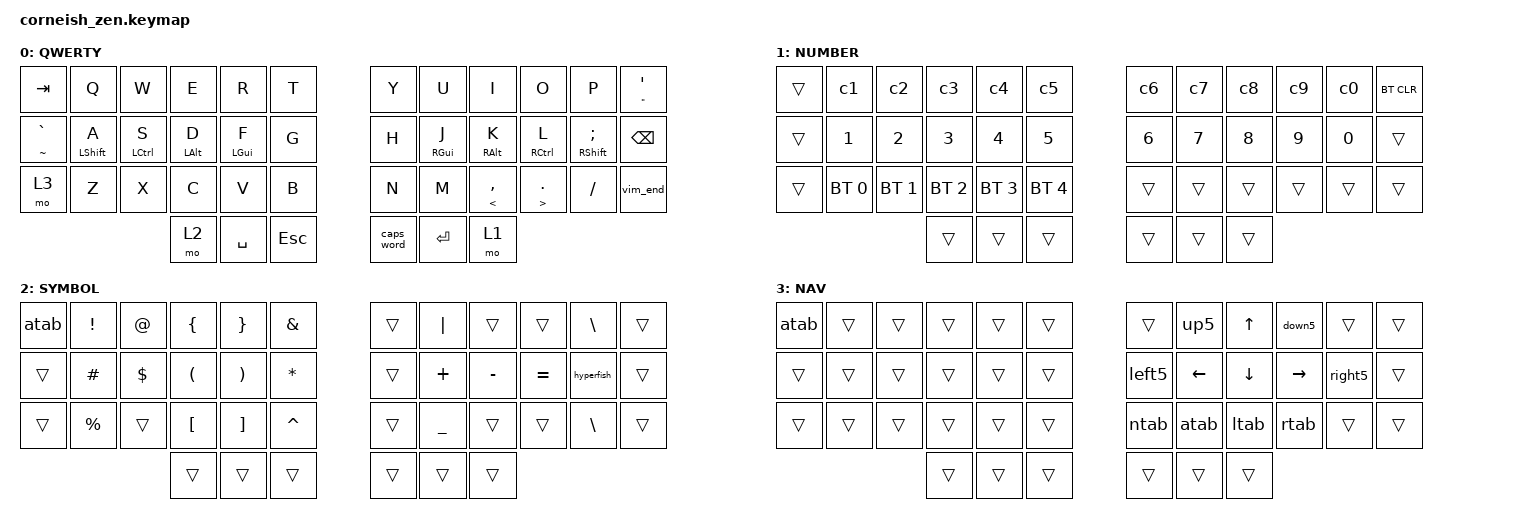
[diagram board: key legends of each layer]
#include <behaviors.dtsi>
#include <dt-bindings/zmk/keys.h>
#include <dt-bindings/zmk/bt.h>

/ {
  chosen {
    zmk,matrix_transform = &default_transform;
    //zmk,matrix_transform = &five_column_transform;
  };
};

&mt {
	tapping-term-ms = <180>;
};

/ {
	macros {
        	vim_end: vim_end {
            		label = "vim_end";
            		compatible = "zmk,behavior-macro";
            		#binding-cells = <0>;
            		bindings
                		= <&macro_tap &kp ESC &kp DLLR &kp I &kp RIGHT>
                		;
        	};
        	hyperfish: hyperfish {
            		label = "hyperfish";
            		compatible = "zmk,behavior-macro";
            		#binding-cells = <0>;
            		bindings
                		= <&macro_tap &kp COLON &kp COLON &kp LT &kp LPAR>
                		;
        	};
        	left5: left5 {
            		label = "left5";
            		compatible = "zmk,behavior-macro";
            		#binding-cells = <0>;
            		bindings
                		= <&macro_tap &kp LEFT &kp LEFT &kp LEFT &kp LEFT &kp LEFT>
                		;
        	};
        	right5: right5 {
            		label = "right5";
            		compatible = "zmk,behavior-macro";
            		#binding-cells = <0>;
            		bindings
                		= <&macro_tap &kp RIGHT &kp RIGHT &kp RIGHT &kp RIGHT &kp RIGHT>
                		;
        	};
        	up5: up5 {
            		label = "up5";
            		compatible = "zmk,behavior-macro";
            		#binding-cells = <0>;
            		bindings
                		= <&macro_tap &kp UP &kp UP &kp UP &kp UP &kp UP>
                		;
        	};
        	down5: down5 {
            		label = "down5";
            		compatible = "zmk,behavior-macro";
            		#binding-cells = <0>;
            		bindings
                		= <&macro_tap &kp DOWN &kp DOWN &kp DOWN &kp DOWN &kp DOWN>
                		;
        	};
        	atab: atab {
            		label = "alt_tab";
            		compatible = "zmk,behavior-macro";
            		#binding-cells = <0>;
            		bindings
                		= <&macro_press &kp LGUI>
                		, <&macro_tap &kp TAB>
                		, <&macro_release &kp LGUI>
                		;
        	};
        	ntab: ntab {
            		label = "new_tab";
            		compatible = "zmk,behavior-macro";
            		#binding-cells = <0>;
            		bindings
                		= <&macro_press &kp LGUI>
                		, <&macro_tap &kp T>
                		, <&macro_release &kp LGUI>
                		;
        	};
        	ltab: ltab {
            		label = "left_tab";
            		compatible = "zmk,behavior-macro";
            		#binding-cells = <0>;
            		bindings
                		= <&macro_press &kp LCTRL &kp LSHFT>
                		, <&macro_tap &kp TAB>
                		, <&macro_release &kp LCTRL &kp LSHFT>
                		;
        	};
        	rtab: rtab {
            		label = "right_tab";
            		compatible = "zmk,behavior-macro";
            		#binding-cells = <0>;
            		bindings
                		= <&macro_press &kp LCTRL>
                		, <&macro_tap &kp TAB>
                		, <&macro_release &kp LCTRL>
                		;
        	};
        	c1: c1 {
            		label = "c1";
            		compatible = "zmk,behavior-macro";
            		#binding-cells = <0>;
            		bindings
                		= <&macro_press &kp LGUI>
                		, <&macro_tap &kp N1>
                		, <&macro_release &kp LGUI>
                		;
        	};
        	c2: c2 {
            		label = "c2";
            		compatible = "zmk,behavior-macro";
            		#binding-cells = <0>;
            		bindings
                		= <&macro_press &kp LGUI>
                		, <&macro_tap &kp N2>
                		, <&macro_release &kp LGUI>
                		;
        	};
        	c3: c3 {
            		label = "c3";
            		compatible = "zmk,behavior-macro";
            		#binding-cells = <0>;
            		bindings
                		= <&macro_press &kp LGUI>
                		, <&macro_tap &kp N3>
                		, <&macro_release &kp LGUI>
                		;
        	};
        	c4: c4 {
            		label = "c4";
            		compatible = "zmk,behavior-macro";
            		#binding-cells = <0>;
            		bindings
                		= <&macro_press &kp LGUI>
                		, <&macro_tap &kp N4>
                		, <&macro_release &kp LGUI>
                		;
        	};
        	c5: c5 {
            		label = "c5";
            		compatible = "zmk,behavior-macro";
            		#binding-cells = <0>;
            		bindings
                		= <&macro_press &kp LGUI>
                		, <&macro_tap &kp N5>
                		, <&macro_release &kp LGUI>
                		;
        	};
        	c6: c6 {
            		label = "c6";
            		compatible = "zmk,behavior-macro";
            		#binding-cells = <0>;
            		bindings
                		= <&macro_press &kp LGUI>
                		, <&macro_tap &kp N6>
                		, <&macro_release &kp LGUI>
                		;
        	};
        	c7: c7 {
            		label = "c7";
            		compatible = "zmk,behavior-macro";
            		#binding-cells = <0>;
            		bindings
                		= <&macro_press &kp LGUI>
                		, <&macro_tap &kp N7>
                		, <&macro_release &kp LGUI>
                		;
        	};
        	c8: c8 {
            		label = "c8";
            		compatible = "zmk,behavior-macro";
            		#binding-cells = <0>;
            		bindings
                		= <&macro_press &kp LGUI>
                		, <&macro_tap &kp N8>
                		, <&macro_release &kp LGUI>
                		;
        	};
        	c9: c9 {
            	label = "c9";
            		compatible = "zmk,behavior-macro";
            		#binding-cells = <0>;
            		bindings
                		= <&macro_press &kp LGUI>
                		, <&macro_tap &kp N9>
                		, <&macro_release &kp LGUI>
                		;
        	};
        	c0: c0 {
            		label = "c0";
            		compatible = "zmk,behavior-macro";
            		#binding-cells = <0>;
            		bindings
                		= <&macro_press &kp LGUI>
                		, <&macro_tap &kp N0>
                		, <&macro_release &kp LGUI>
                		;
        	};
	};
    	behaviors {
        	hm: homerow_mods {
        		compatible = "zmk,behavior-hold-tap";
        		label = "HOMEROW_MODS";
        		#binding-cells = <2>;
        		tapping-term-ms = <200>;
        		quick-tap-ms = <175>;
        		require-prior-idle-ms = <150>;
        		flavor = "balanced";
        		bindings = <&kp>, <&kp>;
        		global-quick-tap;
        	};
    	};
        keymap {
                compatible = "zmk,keymap";

                default_layer {
                        label = "QWERTY";
// -----------------------------------------------------------------------------------------
// | TAB |  Q    |  W    |  E   |   R  |  T  |   |  Y  |   U  |  I   |  O    |   P   |  '   |
// | ` ~ |LSHFT A|LCTRL S|LALT D|LGUI F|  G  |   |  H  |RGUI J|RALT K|RCTRL L|LSHFT ;| BSPC |
// | NAV |  Z    |  X    |  C   |   V  |  B  |   |  N  |   M  | LT , | GT .  |   /   | VIM  |
//                       | LOW  | SPC  | ESC |   |CAPS | ENT  | RSE  |
                        bindings = <
   &kp TAB &kp Q       &kp W      &kp E      &kp R       &kp T &kp Y &kp U        &kp I      &kp O      &kp P          &mt DQT SQT
   &mt TILDE GRAVE   &hm LSHFT A &hm LCTRL S &hm LALT D &hm LGUI F &kp G &kp H &hm RGUI J  &hm RALT K &hm RCTRL L &hm RSHFT SEMI &kp BSPC
   &mo 3     &kp Z       &kp X      &kp C      &kp V       &kp B       &kp N &kp M  &hm LT COMMA &hm GT DOT &kp FSLH     &vim_end
                               &mo 2    &kp SPACE &kp ESC  &caps_word  &kp RET      &mo 1
                        >;
                };
                lower_layer {
                        label = "NUMBER";
// -----------------------------------------------------------------------------------------
// |      |  C1 |  C2 |  C3 |  C4 |  C5 |   |  C6 |  C7 |  C8 |  C9 |  C0 | BTCLR|
// |      |  N1 |  N2 |  N3 |  N4 |  N5 |   |  N6 |  N7 |  N8 |  N9 |  N0 |      |
// |      | BT0 | BT1 | BT2 | BT3 | BT4 |   |     |     |     |     |     |      |
//                    |     |     |     |   |     |     |     |
                        bindings = <
   &trans  &c1          &c2           &c3          &c4        &c5       &c6      &c7      &c8     &c9     &c0     &bt BT_CLR
   &trans  &kp N1       &kp N2        &kp N3       &kp N4     &kp N5    &kp N6   &kp N7   &kp N8  &kp N9  &kp N0  &trans
   &trans  &bt BT_SEL 0 &bt BT_SEL 1  &bt BT_SEL 2 &bt BT_SEL 3  &bt BT_SEL 4 &trans   &trans   &trans  &trans  &trans  &trans
                          	      &trans       &trans     &trans    &trans   &trans   &trans
                        >;
                };

                raise_layer {
                        label = "SYMBOL";
// -----------------------------------------------------------------------------------------
// | atab |  !  |  @  |  {  |  }  |  &  |   |     | "|" |     |     |  \  |    |
// |      |  #  |  $  |  (  |  )  |  *  |   |     |  +  |  -  |  =  |HFSH |    |
// |      |  %  |     |  [  |  ]  |  ^  |   |     |  _  |     |     |  \  |    |
//                    |     |     |     |   |     |     |     |
                        bindings = <
   &atab &kp EXCL  &kp AT   &kp LBRC  &kp RBRC  &kp AMPS  &trans  &kp PIPE  &trans    &trans &kp BSLH   &trans
   &trans &kp HASH  &kp DLLR &kp LPAR  &kp RPAR  &kp STAR  &trans  &kp PLUS  &kp MINUS &kp EQUAL &hyperfish &trans
   &trans &kp PRCNT &trans   &kp LBKT  &kp RBKT  &kp CARET &trans  &kp UNDER &trans    &trans &kp BSLH   &trans
                    	     &trans    &trans    &trans    &trans  &trans    &trans
                        >;
                };

		nav_layer {
                        label = "NAV";
// -----------------------------------------------------------------------------------------
// | ATAB |     |     |     |     |     |   |       | UP5  |  UP  | DOWN5 |        |       |
// |      |     |     |     |     |     |   | LEFT5 | LEFT | DOWN | RIGHT | RIGHT5 |       |
// |      |     |     |     |     |     |   | NTAB  | ATAB | LTAB | RTAB  |        |       |
//                    |     |     |     |   |       |      |       |
                        bindings = <
   &atab   &trans  &trans  &trans  &trans  &trans      &trans  &up5     &kp UP   &down5     &trans  &trans
   &trans  &trans  &trans  &trans  &trans  &trans      &left5  &kp LEFT &kp DOWN &kp RIGHT  &right5  &trans
   &trans  &trans  &trans  &trans  &trans  &trans      &ntab   &atab    &ltab    &rtab      &trans  &trans
                     	   &trans  &trans  &trans      &trans  &trans   &trans
                        >;
                };
        };
};
